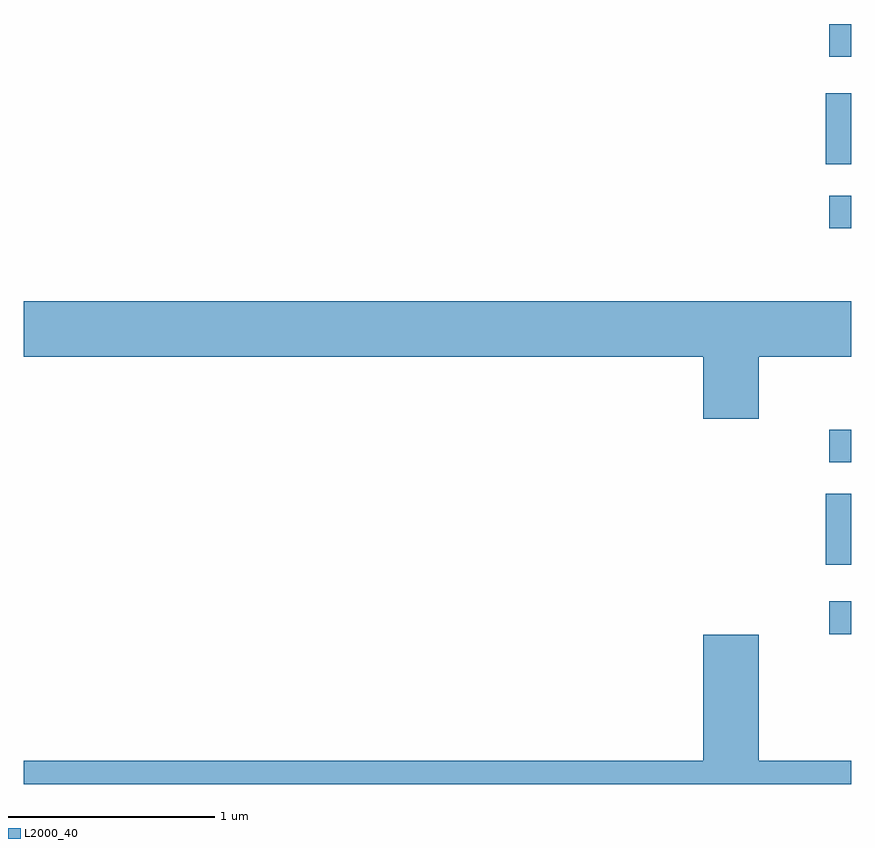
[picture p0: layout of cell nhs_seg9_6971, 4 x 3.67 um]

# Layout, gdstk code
import gdstk
lib = gdstk.Library(unit=1e-6, precision=1e-09)
def R(c, l, rs):  # rectangles x0, y0, x1, y1
    for r in rs: c.add(gdstk.rectangle(r[:2], r[2:], *l))
def P(c, l, *ps):  # polygons
    for p in ps: c.add(gdstk.Polygon(p, *l))
L2000_40 = (2000, 40)

nhs_seg9_6971 = lib.new_cell('nhs_seg9_6971')
R(nhs_seg9_6971, L2000_40, [(395.503,1977.156,395.611,1977.314), (395.486,1977.491,395.611,1977.834), (395.503,1977.986,395.611,1978.144), (395.503,1979.116,395.611,1979.274), (395.486,1979.426,395.611,1979.769), (395.503,1979.946,395.611,1980.104)])
P(nhs_seg9_6971, L2000_40, [(395.164,1978.496),(395.611,1978.496),(395.611,1978.764),(391.611,1978.764),(391.611,1978.496),(394.896,1978.496),(394.896,1978.196),(395.164,1978.196)],
  [(395.611,1976.544),(395.164,1976.544),(395.164,1977.154),(394.896,1977.154),(394.896,1976.544),(391.611,1976.544),(391.611,1976.432),(395.611,1976.432)])

lib.write_gds('nhs_seg9_6971.gds')
